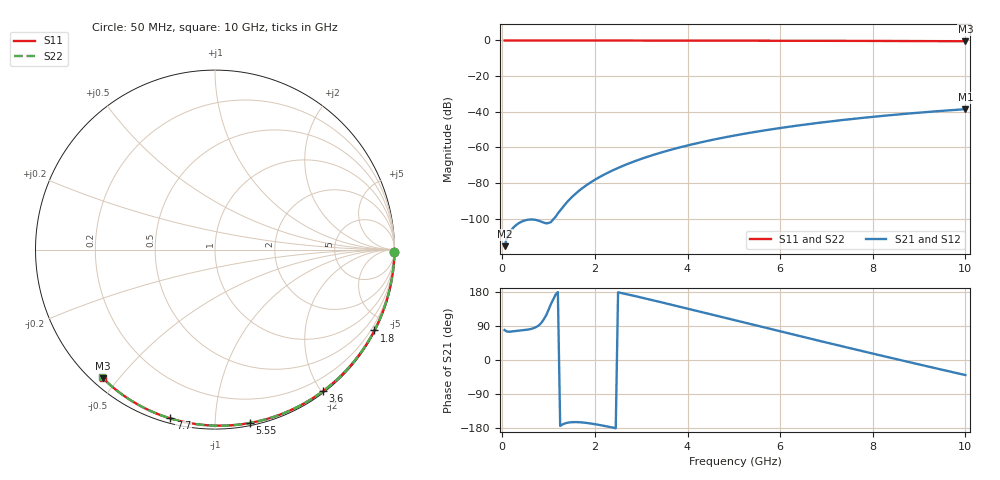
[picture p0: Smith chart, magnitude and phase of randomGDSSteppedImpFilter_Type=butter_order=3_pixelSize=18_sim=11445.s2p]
! freq	dB(S11)	phase(S11)	dB(S12)	phase(S12)
!  dB(S21)	phase(S21)	dB(S22)	phase(S22)
!S-par simulation data
#  GHz  S  DB  R 50
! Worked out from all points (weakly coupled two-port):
!   200 points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, 50 MHz to 10 GHz, reference 50 ohm
!   highest |S21| = -38.51 dB at 10 GHz (marker M1); lowest = -115.3 dB at 50 MHz (marker M2)
!   lowest |S11| = -0.4 dB at 10 GHz (marker M3), VSWR 39.06, Z = 1.54 - j22.7 ohm
!   |S11| at or under -10 dB: nowhere
!   |S22| runs from -0.4 to 0.0 dB; largest |S21 - S12| = 0
!   S11 on the Smith chart (normalised r, x): 50 MHz: open; 1.8 GHz: 0.04, -4.18; 3.6 GHz: 0.02, -2.02; 5.55 GHz: 0.02, -1.22; 7.7 GHz: 0.02, -0.77; 10 GHz: 0.03, -0.45
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0.05  -0.00 -0.8  -115.31 79.1  -115.31 79.1  -0.00 -0.8
0.9  -0.02 -13.6  -102.16 108.1  -102.16 108.1  -0.02 -13.6
1.75  -0.03 -26.2  -82.37 -165.1  -82.37 -165.1  -0.03 -26.2
1.8  -0.03 -26.9  -81.44 -165.8  -81.44 -165.8  -0.03 -27.0
1.85  -0.04 -27.6  -80.54 -166.5  -80.54 -166.5  -0.04 -27.7
1.9  -0.04 -28.3  -79.69 -167.4  -79.69 -167.4  -0.04 -28.4
2.05  -0.04 -30.5  -77.31 -170.4  -77.31 -170.4  -0.04 -30.6
2.25  -0.04 -33.4  -74.50 -175.0  -74.50 -175.0  -0.04 -33.6
2.45  -0.05 -36.3  -72.02 -180.0  -72.02 -180.0  -0.05 -36.5
2.65  -0.05 -39.2  -69.80 174.7  -69.80 174.7  -0.05 -39.3
3  -0.06 -44.2  -66.39 164.9  -66.39 164.9  -0.06 -44.3
3.4  -0.07 -49.8  -63.04 153.3  -63.04 153.3  -0.07 -50.0
3.6  -0.07 -52.6  -61.55 147.4  -61.55 147.4  -0.07 -52.8
4.3  -0.09 -62.1  -57.04 126.6  -57.04 126.6  -0.09 -62.3
5.05  -0.11 -72.1  -53.11 104.1  -53.11 104.1  -0.11 -72.3
5.55  -0.13 -78.5  -50.88 89.1  -50.88 89.1  -0.13 -78.8
6.1  -0.15 -85.5  -48.70 72.7  -48.70 72.7  -0.15 -85.8
6.7  -0.18 -92.9  -46.60 54.9  -46.60 54.9  -0.18 -93.2
7.7  -0.24 -104.9  -43.61 25.6  -43.61 25.6  -0.24 -105.2
8.35  -0.29 -112.4  -41.95 6.8  -41.95 6.8  -0.29 -112.8
9.15  -0.36 -121.6  -40.15 -16.0  -40.15 -16.0  -0.36 -122.0
10  -0.44 -131.2  -38.51 -39.8  -38.51 -39.8  -0.44 -131.6
